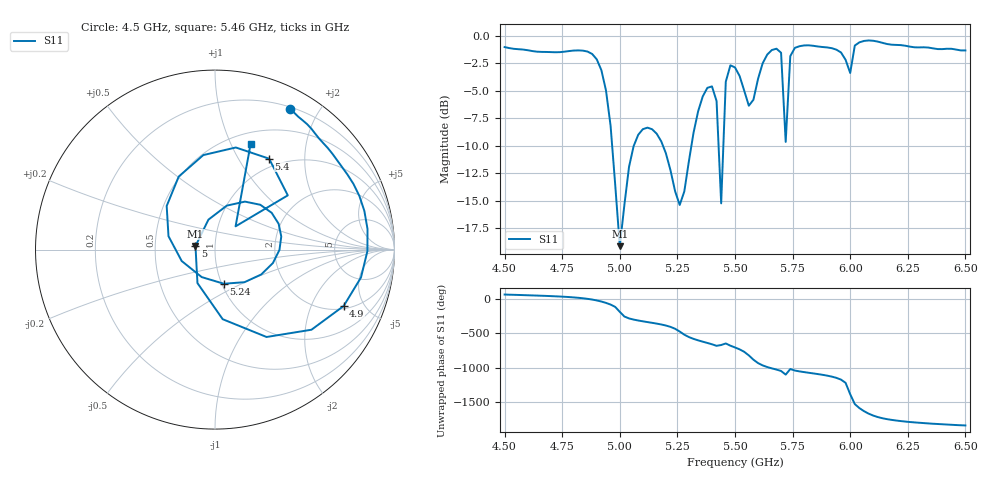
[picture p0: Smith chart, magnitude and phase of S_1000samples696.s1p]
! TOUCHSTONE file generated by CST MICROWAVE STUDIO
! Date and time: Sat Oct 29 01:47:20 2022
! Project name: L.cst
! Parameters = {Di=1.27; Epsilon_r=1.56; InnerDiameter=1.27; Length=2; Lf=10; Lg=60; OuterConductorThickness=0.2921; OuterDiameter=3.6; Wf=3; Wp=41.2; de=1.5; df=6.8; g=0.8; gx=3.56208; gy=0.892564; h=2.34; hf=1.524; px=8.46085; py=14.7908; w=9.7; wx=4.89877; wy=13.8983}
! Header version: 2018
! Port assignment regex: !\s*Touchstone port\s*([0-9]+)\s*=\s*(CST MWS port|CST DS port)\s*([0-9]+|Zmin|Zmax)\s*\(\"(.*)\"\)(\s*mode\s*([0-9]+))?.*
! Touchstone port assignment:
! Touchstone port 1 = CST MWS port 1 ("")
# GHz S DB R 50
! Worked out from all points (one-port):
!   101 points, 4.5 GHz to 6.5 GHz, reference 50 ohm
!   lowest |S11| = -19.1 dB at 5 GHz (marker M1), VSWR 1.25, Z = 40.2 + j1.59 ohm
!   |S11| at or under -10 dB: 4.967 GHz to 5.061 GHz (93.71 MHz wide, 1.87 % of centre); 5.187 GHz to 5.311 GHz (123.3 MHz wide, 2.35 % of centre); 5.428759 GHz to 5.449457 GHz (20.7 MHz wide, 0.381 % of centre)
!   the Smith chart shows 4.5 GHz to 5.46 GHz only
!   S11 on the Smith chart (normalised r, x): 4.5 GHz: 0.22, +1.65; 4.9 GHz: 2.17, -3.51; 5 GHz: 0.80, +0.03; 5.24 GHz: 1.02, -0.40; 5.4 GHz: 0.88, +1.36; 5.46 GHz: 0.62, +1.19
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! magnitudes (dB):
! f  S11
! 4.5 GHz  -1.0
! 4.76 GHz  -1.4
! 4.9 GHz  -2.1
! 4.94 GHz  -5.0
! 4.96 GHz  -8.2
! 5 GHz  -19.1
! 5.04 GHz  -11.9
! 5.1 GHz  -8.5
! 5.18 GHz  -9.6
! 5.24 GHz  -14.1
! 5.26 GHz  -15.4
! 5.34 GHz  -6.9
! 5.4 GHz  -4.6
! 5.42 GHz  -5.9
! 5.44 GHz  -15.2
! 5.46 GHz  -4.2
! 5.5 GHz  -2.9
! 5.56 GHz  -6.3
! 5.64 GHz  -1.7
! 5.7 GHz  -1.5
! 5.72 GHz  -9.6
! 5.74 GHz  -1.8
! 5.76 GHz  -1.1
! 5.94 GHz  -1.2
! 6 GHz  -3.4
! 6.04 GHz  -0.6
! 6.26 GHz  -1.0
! 6.5 GHz  -1.3
